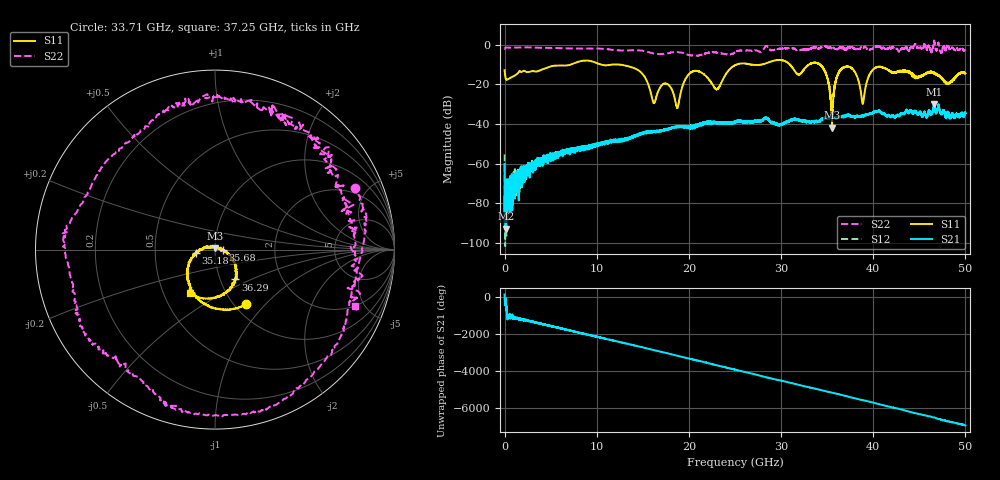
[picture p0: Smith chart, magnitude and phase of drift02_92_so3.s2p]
!Created with skrf (http://scikit-rf.org).
# Hz S RI R 50.0
!freq ReS11 ImS11 ReS21 ImS21 ReS12 ImS12 ReS22 ImS22
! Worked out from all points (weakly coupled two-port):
!   10001 points, 300 kHz to 50 GHz, reference 50 ohm
!   highest |S21| = -30.17 dB at 46.6 GHz (marker M1); lowest = -92.9 dB at 120.3 MHz (marker M2)
!   lowest |S11| = -41.9 dB at 35.54 GHz (marker M3), VSWR 1.02, Z = 50 + j0.801 ohm
!   |S11| at or under -10 dB: start of sweep to 7.178 GHz; 12.37 GHz to 25.16 GHz (12.79 GHz wide, 68.2 % of centre); 34.22 GHz to end of sweep (the widest 3 of 16)
!   |S22| runs from -5.7 to 2.2 dB; largest |S21 - S12| = 0.0031
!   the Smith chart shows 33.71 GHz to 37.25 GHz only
!   S11 on the Smith chart (normalised r, x): 33.71 GHz: 1.13, -0.78; 35.18 GHz: 0.81, -0.03; 35.68 GHz: 1.09, -0.01; 36.29 GHz: 1.18, -0.41; 37.25 GHz: 0.68, -0.36
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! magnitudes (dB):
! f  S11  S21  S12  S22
! 300 kHz  -12.9  -60.2  -55.3  -2.0
! 120.3 MHz  -17.1  -92.9  -76.6  -1.5
! 8.335 GHz  -8.2  -52.1  -52.1  -1.9
! 14.05 GHz  -11.8  -46.2  -46.1  -2.8
! 16.67 GHz  -23.5  -43.7  -43.7  -4.7
! 17.71 GHz  -20.0  -42.5  -42.7  -4.3
! 18.74 GHz  -31.9  -41.4  -41.4  -3.6
! 20.25 GHz  -13.9  -42.1  -41.2  -5.4
! 23.03 GHz  -22.5  -39.2  -39.4  -4.1
! 25 GHz  -10.3  -38.7  -39.2  -3.9
! 33.34 GHz  -9.3  -38.5  -38.5  -1.6
! 33.71 GHz  -9.1  -38.7  -38.6  -1.4
! 35.18 GHz  -19.4  -36.9  -37.1  -1.6
! 35.54 GHz  -41.9  -36.8  -36.7  -1.7
! 35.68 GHz  -26.9  -36.6  -36.8  -1.4
! 36.29 GHz  -13.9  -36.7  -36.3  -1.7
! 37.25 GHz  -11.0  -35.7  -35.3  -1.5
! 38.86 GHz  -29.9  -36.1  -36.0  -1.3
! 39.96 GHz  -12.7  -34.4  -34.5  -1.9
! 41.67 GHz  -12.9  -35.7  -35.4  -2.0
! 46.6 GHz  -14.4  -30.2  -30.4  1.8
! 50 GHz  -14.4  -34.6  -34.5  -2.7
